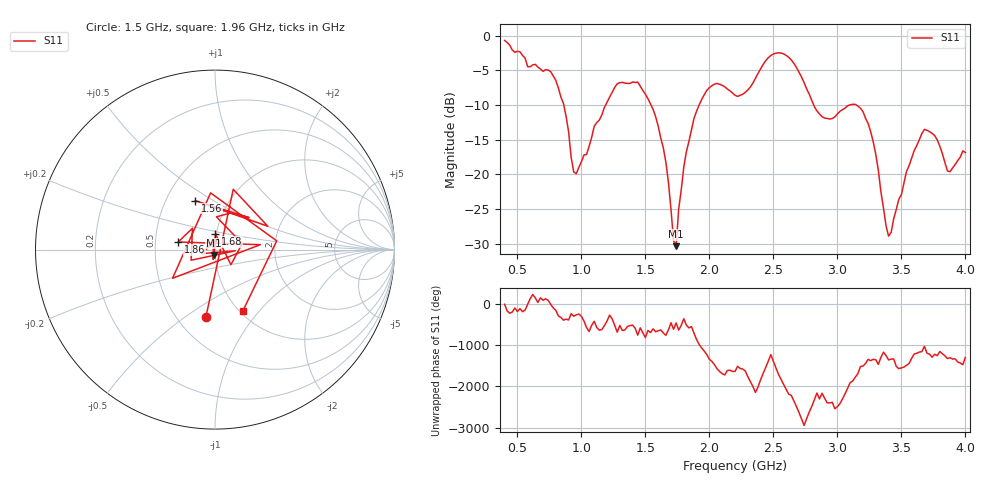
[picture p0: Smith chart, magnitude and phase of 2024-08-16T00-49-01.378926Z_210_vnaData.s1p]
!Created with skrf (http://scikit-rf.org).
# Hz S RI R 50.0
!freq ReS11 ImS11
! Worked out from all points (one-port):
!   181 points, 400 MHz to 4 GHz, reference 50 ohm
!   lowest |S11| = -30.3 dB at 1.74 GHz (marker M1), VSWR 1.06, Z = 49.2 - j2.9 ohm
!   |S11| at or under -10 dB: 862.4 MHz to 1.189 GHz (326.9 MHz wide, 31.9 % of centre); 1.544 GHz to 1.92 GHz (375.6 MHz wide, 21.7 % of centre); 3.147 GHz to end of sweep (the widest 3 of 4)
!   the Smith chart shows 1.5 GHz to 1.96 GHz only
!   S11 on the Smith chart (normalised r, x): 1.5 GHz: 0.69, -0.60; 1.56 GHz: 0.70, +0.42; 1.68 GHz: 0.99, +0.17; 1.86 GHz: 0.66, +0.06; 1.96 GHz: 1.03, -0.82
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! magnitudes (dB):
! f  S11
! 400 MHz  -0.7
! 580 MHz  -4.5
! 760 MHz  -5.2
! 860 MHz  -9.8
! 940 MHz  -19.7
! 960 MHz  -19.9
! 1.3 GHz  -6.8
! 1.5 GHz  -8.4
! 1.56 GHz  -10.6
! 1.68 GHz  -21.2
! 1.72 GHz  -29.5
! 1.74 GHz  -30.3
! 1.76 GHz  -25.0
! 1.86 GHz  -13.6
! 1.96 GHz  -8.5
! 2.06 GHz  -6.9
! 2.2 GHz  -8.6
! 2.5 GHz  -2.7
! 2.66 GHz  -4.0
! 2.88 GHz  -11.7
! 3.1 GHz  -10.0
! 3.26 GHz  -13.8
! 3.4 GHz  -28.9
! 3.56 GHz  -18.7
! 3.68 GHz  -13.5
! 3.78 GHz  -15.0
! 3.86 GHz  -19.5
! 4 GHz  -16.8
